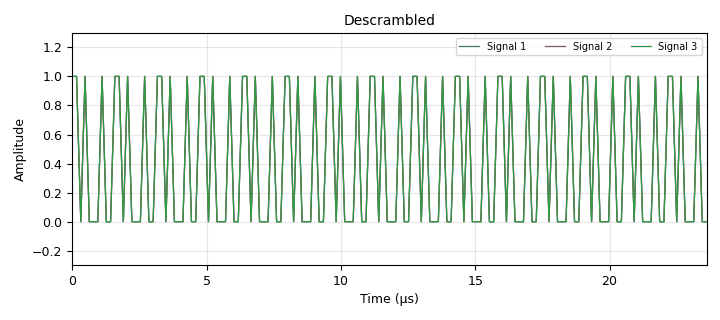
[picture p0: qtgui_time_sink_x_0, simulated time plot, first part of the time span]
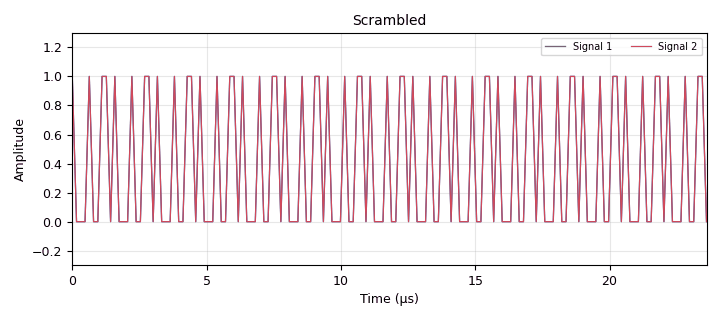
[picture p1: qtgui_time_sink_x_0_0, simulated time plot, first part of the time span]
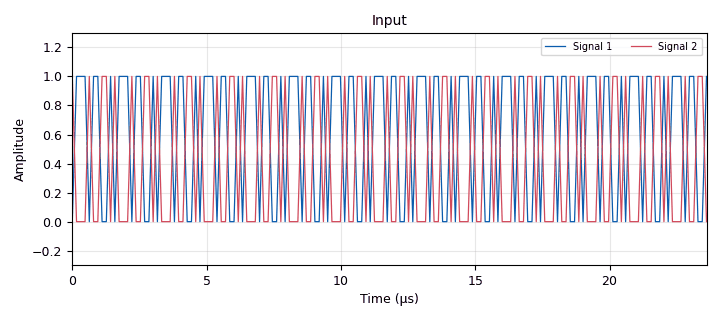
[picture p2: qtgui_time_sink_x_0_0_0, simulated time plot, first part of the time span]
options:
  parameters:
    author: Jared Boone
    copyright: '(C) 2024 Jared Boone, License: Creative Commons Zero, version 1.0'
    description: Check that GNU Radio scrambler and descrambler behavior match expectations
    generate_options: qt_gui
    id: nabu_scrambler_check
    output_language: python
    title: NABU Network Scrambler Check
  states: {}

blocks:
- name: delay_n
  id: variable_qtgui_range
  parameters:
    start: '0'
    step: '1'
    stop: '100'
    value: '20'
  states: {}
- name: samp_rate
  id: variable
  parameters:
    value: 3.1555e6 * 2
  states: {}
- name: analog_random_source_x_0
  id: analog_random_source_x
  parameters:
    max: '2'
    min: '0'
    num_samps: '1000'
    repeat: 'True'
    type: byte
  states: {state: disabled}
- name: blocks_and_const_xx_0
  id: blocks_and_const_xx
  parameters:
    const: '1'
    type: byte
  states: {}
- name: blocks_char_to_float_0
  id: blocks_char_to_float
  parameters:
    scale: '1'
  states: {}
- name: blocks_char_to_float_0_0
  id: blocks_char_to_float
  parameters:
    scale: '1'
  states: {}
- name: blocks_char_to_float_0_0_0
  id: blocks_char_to_float
  parameters:
    scale: '1'
  states: {}
- name: blocks_char_to_float_0_0_1
  id: blocks_char_to_float
  parameters:
    scale: '1'
  states: {}
- name: blocks_char_to_float_0_0_1_0
  id: blocks_char_to_float
  parameters:
    scale: '1'
  states: {}
- name: blocks_char_to_float_0_0_1_1
  id: blocks_char_to_float
  parameters:
    scale: '1'
  states: {}
- name: blocks_char_to_float_0_1
  id: blocks_char_to_float
  parameters:
    scale: '1'
  states: {}
- name: blocks_delay_0
  id: blocks_delay
  parameters:
    delay: '3'
    type: byte
  states: {}
- name: blocks_delay_0_0
  id: blocks_delay
  parameters:
    delay: delay_n
    type: byte
  states: {}
- name: blocks_delay_0_0_0
  id: blocks_delay
  parameters:
    delay: delay_n
    type: byte
  states: {}
- name: blocks_delay_0_0_0_0
  id: blocks_delay
  parameters:
    delay: delay_n
    type: byte
  states: {}
- name: blocks_delay_0_1
  id: blocks_delay
  parameters:
    delay: '17'
    type: byte
  states: {}
- name: blocks_not_xx_0
  id: blocks_not_xx
  parameters:
    comment: |-
      Doesn't work the
      way you'd expect!
    type: byte
  states: {}
- name: blocks_throttle2_0
  id: blocks_throttle2
  parameters:
    samples_per_second: samp_rate
    type: byte
  states: {}
- name: blocks_vector_source_x_0
  id: blocks_vector_source_x
  parameters:
    repeat: 'True'
    type: byte
    vector: (1,0,0,0,0,0,0,0,0,0,0,0,0,0,0,0,)
  states: {state: disabled}
- name: blocks_vector_source_x_0_0
  id: blocks_vector_source_x
  parameters:
    repeat: 'True'
    type: byte
    vector: (0,1,1,0,0,1,0,1,1,1)
  states: {}
- name: blocks_xor_xx_0
  id: blocks_xor_xx
  parameters:
    num_inputs: '3'
    type: byte
  states: {}
- name: digital_descrambler_bb_0
  id: digital_descrambler_bb
  parameters:
    comment: Polynomial x^20 + x^3 + 1
    len: '19'
    mask: '0x20001'
    seed: '00'
  states: {}
- name: digital_scrambler_bb_0
  id: digital_scrambler_bb
  parameters:
    comment: Polynomial x^20 + x^3 + 1
    len: '19'
    mask: '0b000100000000000000001'
    seed: '0'
  states: {state: bypassed}
- name: epy_block_0
  id: epy_block
  parameters:
    _source_code: |
      """
      Embedded Python Blocks:

      Each time this file is saved, GRC will instantiate the first class it finds
      to get ports and parameters of your block. The arguments to __init__  will
      be the parameters. All of them are required to have default values!
      """

      import numpy as np
      from gnuradio import gr


      class blk(gr.sync_block):  # other base classes are basic_block, decim_block, interp_block
          """Multiplicative scrambler 1 + x^20 + x^3 + 1"""

          def __init__(self):  # only default arguments here
              """arguments to this function show up as parameters in GRC"""
              gr.sync_block.__init__(
                  self,
                  name='Multiplicative Scrambler',
                  in_sig=[np.byte],
                  out_sig=[np.byte]
              )
              # if an attribute with the same name as a parameter is found,
              # a callback is registered (properties work, too).
              #self.example_param = example_param

              self._r = 0

          def work(self, input_items, output_items):
              for n, input_item in enumerate(input_items[0]):
                  self._r <<= 1
                  fb = ((self._r >> 3) ^ (self._r >> 20)) & 1
                  out = (input_item ^ fb) & 1
                  self._r |= out
                  output_items[0][n] = out
              return len(output_items[0])
  states: {state: disabled}
- name: epy_block_1
  id: epy_block
  parameters:
    _source_code: |
      """
      Embedded Python Blocks:

      Each time this file is saved, GRC will instantiate the first class it finds
      to get ports and parameters of your block. The arguments to __init__  will
      be the parameters. All of them are required to have default values!
      """

      import numpy as np
      from gnuradio import gr


      class blk(gr.sync_block):  # other base classes are basic_block, decim_block, interp_block
          """Multiplicative descrambler x^20 + x^3 + 1"""

          def __init__(self):  # only default arguments here
              """arguments to this function show up as parameters in GRC"""
              gr.sync_block.__init__(
                  self,
                  name='Multiplicative Descrambler',
                  in_sig=[np.byte],
                  out_sig=[np.byte]
              )
              # if an attribute with the same name as a parameter is found,
              # a callback is registered (properties work, too).
              #self.example_param = example_param

              self._r = 0

          def work(self, input_items, output_items):
              for n, input_item in enumerate(input_items[0]):
                  self._r <<= 1
                  fb = ((self._r >> 20) ^ (self._r >> 3)) & 1
                  out = (input_item ^ fb) & 1
                  self._r |= input_item
                  output_items[0][n] = out
              return len(output_items[0])
  states: {}
- name: qtgui_time_sink_x_0
  id: qtgui_time_sink_x
  parameters:
    ctrlpanel: 'True'
    name: '"Descrambled"'
    nconnections: '3'
    size: '1024'
    srate: samp_rate
    type: float
    ymax: '1.3'
    ymin: '-0.3'
  states: {}
- name: qtgui_time_sink_x_0_0
  id: qtgui_time_sink_x
  parameters:
    ctrlpanel: 'True'
    name: '"Scrambled"'
    nconnections: '2'
    size: '1024'
    srate: samp_rate
    type: float
    ymax: '1.3'
    ymin: '-0.3'
  states: {}
- name: qtgui_time_sink_x_0_0_0
  id: qtgui_time_sink_x
  parameters:
    ctrlpanel: 'True'
    name: '"Input"'
    nconnections: '2'
    size: '1024'
    srate: samp_rate
    type: float
    ymax: '1.3'
    ymin: '-0.3'
  states: {}

connections:
- [analog_random_source_x_0, '0', blocks_throttle2_0, '0']
- [blocks_and_const_xx_0, '0', blocks_char_to_float_0_0_1_1, '0']
- [blocks_and_const_xx_0, '0', blocks_throttle2_0, '0']
- [blocks_char_to_float_0, '0', qtgui_time_sink_x_0, '0']
- [blocks_char_to_float_0_0, '0', qtgui_time_sink_x_0, '1']
- [blocks_char_to_float_0_0_0, '0', qtgui_time_sink_x_0_0, '1']
- [blocks_char_to_float_0_0_1, '0', qtgui_time_sink_x_0, '2']
- [blocks_char_to_float_0_0_1_0, '0', qtgui_time_sink_x_0_0_0, '0']
- [blocks_char_to_float_0_0_1_1, '0', qtgui_time_sink_x_0_0_0, '1']
- [blocks_char_to_float_0_1, '0', qtgui_time_sink_x_0_0, '0']
- [blocks_delay_0, '0', blocks_delay_0_1, '0']
- [blocks_delay_0, '0', blocks_xor_xx_0, '1']
- [blocks_delay_0_0, '0', blocks_char_to_float_0_0_1, '0']
- [blocks_delay_0_0_0, '0', blocks_char_to_float_0_0, '0']
- [blocks_delay_0_0_0_0, '0', blocks_char_to_float_0_0_0, '0']
- [blocks_delay_0_1, '0', blocks_xor_xx_0, '2']
- [blocks_not_xx_0, '0', blocks_and_const_xx_0, '0']
- [blocks_throttle2_0, '0', blocks_delay_0, '0']
- [blocks_throttle2_0, '0', blocks_delay_0_0_0_0, '0']
- [blocks_throttle2_0, '0', blocks_xor_xx_0, '0']
- [blocks_throttle2_0, '0', digital_scrambler_bb_0, '0']
- [blocks_throttle2_0, '0', epy_block_0, '0']
- [blocks_throttle2_0, '0', epy_block_1, '0']
- [blocks_vector_source_x_0, '0', blocks_throttle2_0, '0']
- [blocks_vector_source_x_0_0, '0', blocks_char_to_float_0_0_1_0, '0']
- [blocks_vector_source_x_0_0, '0', blocks_not_xx_0, '0']
- [blocks_xor_xx_0, '0', blocks_delay_0_0, '0']
- [digital_descrambler_bb_0, '0', blocks_char_to_float_0, '0']
- [digital_scrambler_bb_0, '0', blocks_char_to_float_0_1, '0']
- [digital_scrambler_bb_0, '0', digital_descrambler_bb_0, '0']
- [epy_block_0, '0', blocks_delay_0, '0']
- [epy_block_0, '0', blocks_delay_0_0_0_0, '0']
- [epy_block_0, '0', blocks_xor_xx_0, '0']
- [epy_block_0, '0', epy_block_1, '0']
- [epy_block_1, '0', blocks_delay_0_0_0, '0']

metadata:
  file_format: 1
  grc_version: 3.10.9.2
